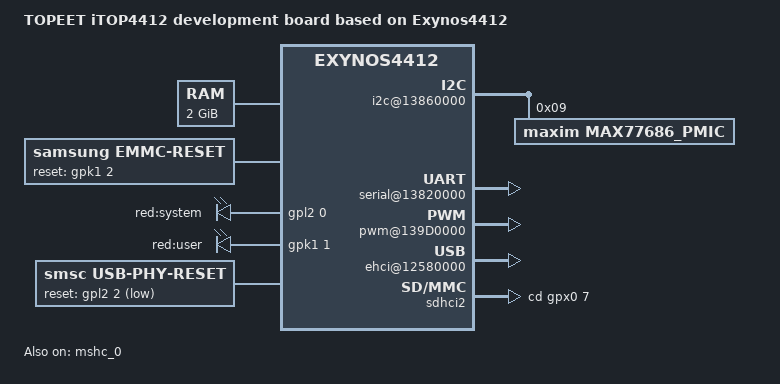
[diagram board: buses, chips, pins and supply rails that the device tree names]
// SPDX-License-Identifier: GPL-2.0+
/*
 * Refer to exynos4210-origen.dts
 *
 * TOPEET iTOP4412 development board(based on Exynos4412 SoC) device tree
 * source
 *
 * Copyright (C) 2019   Ma Chendong <machendong12@gmail.com>
 *
 */

/dts-v1/;
#include "exynos4412.dtsi"
#include <dt-bindings/gpio/gpio.h>

/ {
	model = "TOPEET iTOP4412 development board based on Exynos4412";
	compatible = "TOPEET,itop4412", "samsung,exynos4412";

	chose {
		stdout-path = "/serial@13820000";
	};

	memory {
        reg = <0x40000000 0x80000000>;
    };

	aliases {
		serial2 = "/serial@13820000";
		console = "/serial@13820000";
		i2c0 = "/i2c@13860000";
		i2c1 = "/i2c@13870000";
		i2c2 = "/i2c@13880000";
		i2c3 = "/i2c@13890000";
		i2c4 = "/i2c@138a0000";
		i2c5 = "/i2c@138b0000";
		i2c6 = "/i2c@138c0000";
		i2c7 = "/i2c@138d0000";
	};
	i2c@13860000 {
		samsung,i2c-sda-delay = <100>;
		samsung,i2c-slave-addr = <0x10>;
		samsung,i2c-max-bus-freq = <100000>;
		status = "okay";

		max77686_pmic@09 {
			compatible = "maxim,max77686_pmic";
			interrupts = <7 0>;
			reg = <0x09 0 0>;
			#clock-cells = <1>;
		};
	};

	serial@13800000 {
			status = "disabled";
	};

	serial@13810000 {
			status = "disabled";
	};

	serial@13820000 {
			status = "okay";
	};

	serial@13830000 {
			status = "disabled";
	};

	emmc-reset {
		compatible = "samsung,emmc-reset";
		reset-gpio = <&gpk1 2 0>;
	};

	gpio-leds {
		compatible = "gpio-leds";

		led2 {
			label = "red:system";
			gpios = <&gpl2 0 GPIO_ACTIVE_HIGH>;
			default-state = "on";
			linux,default-trigger = "heartbeat";
		};

		led3 {
			label = "red:user";
			gpios = <&gpk1 1 GPIO_ACTIVE_HIGH>;
			default-state = "on";
		};
	};

	pwm@139D0000 {
		compatible = "samsung,exynos4210-pwm";
		reg = <0x139D0000 0x100>;
		samsung,pwm-outputs = <0>,<1>;
		#pwm-cells = <3>;
		enable-gpios = <&gpd0 0 GPIO_ACTIVE_HIGH>;
	}; 

	ehci@12580000 {
		compatible = "samsung,exynos-ehci";
		reg = <0x12580000 0x100>;               
		
		#address-cells = <1>;
		#size-cells = <1>;
		phy {
				compatible = "samsung,exynos-usb-phy";
				reg = <0x125B0000 0x100>;
		};
	};
	
	usb-phy-reset {
		compatible = "smsc,usb-phy-reset";
		reset-gpio = <&gpl2 2 GPIO_ACTIVE_LOW>;
	};

};

&sdhci2 {
	samsung,bus-width = <4>;
	samsung,timing = <1 2 3>;
	cd-gpios = <&gpx0 7 0>;
	status = "okay";
};

&mshc_0 {
	samsung,bus-width = <4>;
	samsung,timing = <2 1 0>;
	samsung,removable = <0>;
	fifoth_val = <0x203f0040>;
	bus_hz = <400000000>;
	div = <0x3>;
	index = <4>;
	status = "okay";
};
